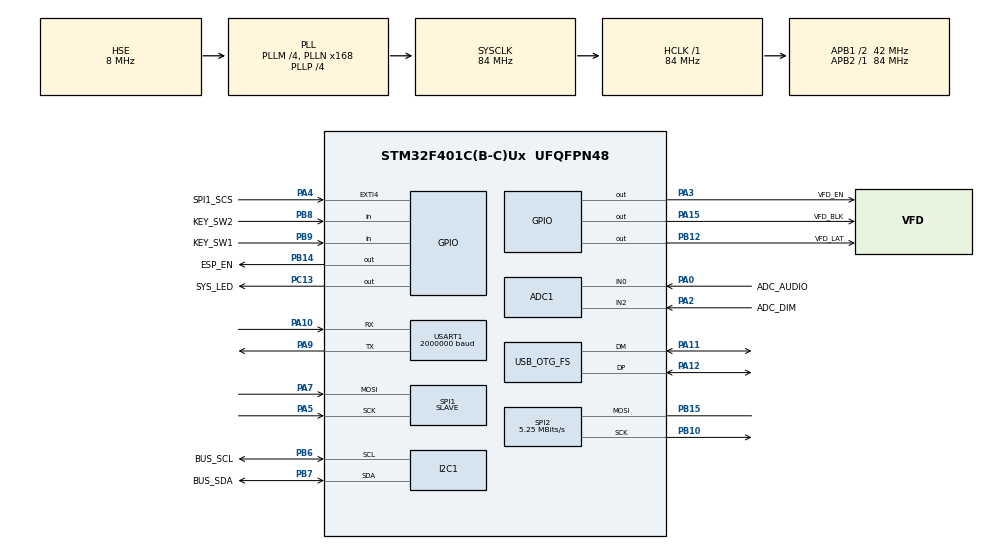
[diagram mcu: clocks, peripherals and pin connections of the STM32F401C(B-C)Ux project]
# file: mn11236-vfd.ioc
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ADC1.Channel-0\#ChannelRegularConversion=ADC_CHANNEL_0
ADC1.Channel-1\#ChannelRegularConversion=ADC_CHANNEL_2
ADC1.DataAlign=ADC_DATAALIGN_RIGHT
ADC1.ExternalTrigConv=ADC_EXTERNALTRIGCONV_T3_TRGO
ADC1.InjNumberOfConversion=0
ADC1.NbrOfConversion=2
ADC1.NbrOfConversionFlag=1
ADC1.Rank-0\#ChannelRegularConversion=1
ADC1.Rank-1\#ChannelRegularConversion=2
ADC1.SamplingTime-0\#ChannelRegularConversion=ADC_SAMPLETIME_3CYCLES
ADC1.SamplingTime-1\#ChannelRegularConversion=ADC_SAMPLETIME_56CYCLES
ADC1.master=1
Dma.ADC1.3.Direction=DMA_PERIPH_TO_MEMORY
Dma.ADC1.3.FIFOMode=DMA_FIFOMODE_DISABLE
Dma.ADC1.3.Instance=DMA2_Stream0
Dma.ADC1.3.MemDataAlignment=DMA_MDATAALIGN_HALFWORD
Dma.ADC1.3.MemInc=DMA_MINC_ENABLE
Dma.ADC1.3.Mode=DMA_CIRCULAR
Dma.ADC1.3.PeriphDataAlignment=DMA_PDATAALIGN_HALFWORD
Dma.ADC1.3.PeriphInc=DMA_PINC_DISABLE
Dma.ADC1.3.Priority=DMA_PRIORITY_LOW
Dma.Request0=SPI1_RX
Dma.Request1=USART1_RX
Dma.Request2=USART1_TX
Dma.Request3=ADC1
Dma.Request4=SPI2_TX
Dma.SPI1_RX.0.Direction=DMA_PERIPH_TO_MEMORY
Dma.SPI1_RX.0.FIFOMode=DMA_FIFOMODE_DISABLE
Dma.SPI1_RX.0.Instance=DMA2_Stream2
Dma.SPI1_RX.0.MemDataAlignment=DMA_MDATAALIGN_BYTE
Dma.SPI1_RX.0.MemInc=DMA_MINC_ENABLE
Dma.SPI1_RX.0.Mode=DMA_CIRCULAR
Dma.SPI1_RX.0.PeriphDataAlignment=DMA_PDATAALIGN_BYTE
Dma.SPI1_RX.0.PeriphInc=DMA_PINC_DISABLE
Dma.SPI1_RX.0.Priority=DMA_PRIORITY_LOW
Dma.SPI2_TX.4.Direction=DMA_MEMORY_TO_PERIPH
Dma.SPI2_TX.4.FIFOMode=DMA_FIFOMODE_DISABLE
Dma.SPI2_TX.4.Instance=DMA1_Stream4
Dma.SPI2_TX.4.MemDataAlignment=DMA_MDATAALIGN_BYTE
Dma.SPI2_TX.4.MemInc=DMA_MINC_ENABLE
Dma.SPI2_TX.4.Mode=DMA_NORMAL
Dma.SPI2_TX.4.PeriphDataAlignment=DMA_PDATAALIGN_BYTE
Dma.SPI2_TX.4.PeriphInc=DMA_PINC_DISABLE
Dma.SPI2_TX.4.Priority=DMA_PRIORITY_HIGH
Dma.USART1_RX.1.Direction=DMA_PERIPH_TO_MEMORY
Dma.USART1_RX.1.FIFOMode=DMA_FIFOMODE_DISABLE
Dma.USART1_RX.1.Instance=DMA2_Stream5
Dma.USART1_RX.1.MemDataAlignment=DMA_MDATAALIGN_BYTE
Dma.USART1_RX.1.MemInc=DMA_MINC_ENABLE
Dma.USART1_RX.1.Mode=DMA_NORMAL
Dma.USART1_RX.1.PeriphDataAlignment=DMA_PDATAALIGN_BYTE
Dma.USART1_RX.1.PeriphInc=DMA_PINC_DISABLE
Dma.USART1_RX.1.Priority=DMA_PRIORITY_LOW
Dma.USART1_TX.2.Direction=DMA_MEMORY_TO_PERIPH
Dma.USART1_TX.2.FIFOMode=DMA_FIFOMODE_DISABLE
Dma.USART1_TX.2.Instance=DMA2_Stream7
Dma.USART1_TX.2.MemDataAlignment=DMA_MDATAALIGN_BYTE
Dma.USART1_TX.2.MemInc=DMA_MINC_ENABLE
Dma.USART1_TX.2.Mode=DMA_NORMAL
Dma.USART1_TX.2.PeriphDataAlignment=DMA_PDATAALIGN_BYTE
Dma.USART1_TX.2.PeriphInc=DMA_PINC_DISABLE
Dma.USART1_TX.2.Priority=DMA_PRIORITY_LOW
FREERTOS.Mutexes01=myMutex01,Dynamic,NULL
FREERTOS.Tasks01=defaultTask,24,128,StartDefaultTask,As weak,NULL,Dynamic,NULL,NULL;displayTask,8,1024,StartdisplayTask,As weak,NULL,Dynamic,NULL,NULL
I2C1.I2C_Mode=I2C_Fast
Mcu.Family=STM32F4
Mcu.Name=STM32F401C(B-C)Ux
Mcu.Package=UFQFPN48
NVIC.DMA1_Stream4_IRQn=true\:5\:0\:false\:false\:true\:true\:false\:true\:true
NVIC.DMA2_Stream0_IRQn=true\:5\:0\:false\:false\:true\:true\:false\:true\:true
NVIC.DMA2_Stream2_IRQn=true\:5\:0\:false\:false\:true\:true\:false\:true\:true
NVIC.DMA2_Stream5_IRQn=true\:5\:0\:false\:false\:true\:true\:false\:true\:true
NVIC.DMA2_Stream7_IRQn=true\:5\:0\:false\:false\:true\:true\:false\:true\:true
NVIC.EXTI4_IRQn=true\:5\:0\:false\:false\:true\:true\:true\:true\:true
NVIC.OTG_FS_IRQn=true\:5\:0\:false\:false\:true\:true\:false\:true\:true
NVIC.PriorityGroup=NVIC_PRIORITYGROUP_4
NVIC.SPI1_IRQn=true\:5\:0\:false\:false\:true\:true\:true\:true\:true
NVIC.TIM3_IRQn=true\:5\:0\:false\:false\:true\:true\:true\:true\:true
NVIC.TIM4_IRQn=true\:15\:0\:false\:false\:true\:false\:false\:true\:true
NVIC.TimeBase=TIM4_IRQn
NVIC.TimeBaseIP=TIM4
NVIC.USART1_IRQn=true\:5\:0\:false\:false\:true\:true\:true\:true\:true
PA0-WKUP.GPIO_Label=ADC_AUDIO
PA0-WKUP.Signal=ADCx_IN0
PA10.Mode=Asynchronous
PA10.Signal=USART1_RX
PA11.Mode=Device_Only
PA11.Signal=USB_OTG_FS_DM
PA12.Mode=Device_Only
PA12.Signal=USB_OTG_FS_DP
PA13.Mode=Serial_Wire
PA13.Signal=SYS_JTMS-SWDIO
PA14.Mode=Serial_Wire
PA14.Signal=SYS_JTCK-SWCLK
PA15.GPIO_Label=VFD_BLK
PA15.GPIO_ModeDefaultOutputPP=GPIO_MODE_OUTPUT_PP
PA15.GPIO_PuPd=GPIO_PULLUP
PA15.PinState=GPIO_PIN_SET
PA15.Signal=GPIO_Output
PA2.GPIO_Label=ADC_DIM
PA2.Signal=ADCx_IN2
PA3.GPIO_Label=VFD_EN
PA3.GPIO_PuPd=GPIO_PULLUP
PA3.PinState=GPIO_PIN_SET
PA3.Signal=GPIO_Output
PA4.GPIO_Label=SPI1_SCS
PA4.GPIO_ModeDefaultEXTI=GPIO_MODE_IT_RISING
PA4.GPIO_PuPd=GPIO_PULLUP
PA4.Signal=GPXTI4
PA5.GPIO_PuPd=GPIO_PULLUP
PA5.Mode=RX_Only_Simplex_Unidirect_Slave
PA5.Signal=SPI1_SCK
PA7.GPIO_PuPd=GPIO_PULLUP
PA7.Mode=RX_Only_Simplex_Unidirect_Slave
PA7.Signal=SPI1_MOSI
PA9.Mode=Asynchronous
PA9.Signal=USART1_TX
PB10.Mode=Simplex_Bidirectional_Master
PB10.Signal=SPI2_SCK
PB12.GPIO_Label=VFD_LAT
PB12.GPIO_ModeDefaultOutputPP=GPIO_MODE_OUTPUT_PP
PB12.GPIO_PuPd=GPIO_PULLUP
PB12.GPIO_Speed=GPIO_SPEED_FREQ_VERY_HIGH
PB12.PinState=GPIO_PIN_SET
PB12.Signal=GPIO_Output
PB14.GPIO_Label=ESP_EN
PB14.GPIO_PuPd=GPIO_PULLUP
PB14.Signal=GPIO_Output
PB15.Mode=Simplex_Bidirectional_Master
PB15.Signal=SPI2_MOSI
PB6.GPIO_Label=BUS_SCL
PB6.Mode=I2C
PB6.Signal=I2C1_SCL
PB7.GPIO_Label=BUS_SDA
PB7.Mode=I2C
PB7.Signal=I2C1_SDA
PB8.GPIO_Label=KEY_SW2
PB8.GPIO_PuPd=GPIO_PULLUP
PB8.Signal=GPIO_Input
PB9.GPIO_Label=KEY_SW1
PB9.GPIO_PuPd=GPIO_PULLUP
PB9.Signal=GPIO_Input
PC13-ANTI_TAMP.GPIO_Label=SYS_LED
PC13-ANTI_TAMP.GPIO_PuPd=GPIO_PULLUP
PC13-ANTI_TAMP.PinState=GPIO_PIN_SET
PC13-ANTI_TAMP.Signal=GPIO_Output
PH0\ -\ OSC_IN.Mode=HSE-External-Oscillator
PH0\ -\ OSC_IN.Signal=RCC_OSC_IN
PH1\ -\ OSC_OUT.Mode=HSE-External-Oscillator
PH1\ -\ OSC_OUT.Signal=RCC_OSC_OUT
ProjectManager.HeapSize=0x200
ProjectManager.StackSize=0x400
ProjectManager.TargetToolchain=MDK-ARM V5.32
RCC.48MHZClocksFreq_Value=48000000
RCC.AHBFreq_Value=84000000
RCC.APB1CLKDivider=RCC_HCLK_DIV2
RCC.APB1Freq_Value=42000000
RCC.APB1TimFreq_Value=84000000
RCC.APB2Freq_Value=84000000
RCC.APB2TimFreq_Value=84000000
RCC.CortexFreq_Value=84000000
RCC.HCLKFreq_Value=84000000
RCC.HSE_VALUE=8000000
RCC.HSI_VALUE=16000000
RCC.LSE_VALUE=32768
RCC.PLLM=4
RCC.PLLN=168
RCC.PLLP=RCC_PLLP_DIV4
RCC.PLLQ=7
RCC.SYSCLKFreq_VALUE=84000000
RCC.SYSCLKSource=RCC_SYSCLKSOURCE_PLLCLK
RCC.VCOOutputFreq_Value=336000000
SH.ADCx_IN0.0=ADC1_IN0,IN0
SH.ADCx_IN2.0=ADC1_IN2,IN2
SPI1.Direction=SPI_DIRECTION_2LINES_RXONLY
SPI1.Mode=SPI_MODE_SLAVE
SPI1.VirtualType=VM_SLAVE
SPI2.BaudRatePrescaler=SPI_BAUDRATEPRESCALER_8
SPI2.CLKPhase=SPI_PHASE_2EDGE
SPI2.CLKPolarity=SPI_POLARITY_HIGH
SPI2.CalculateBaudRate=5.25 MBits/s
SPI2.Direction=SPI_DIRECTION_1LINE
SPI2.Mode=SPI_MODE_MASTER
SPI2.VirtualType=VM_MASTER
TIM2.Period=499
TIM2.Prescaler=83
TIM3.Period=99
TIM3.Prescaler=83
TIM3.TIM_MasterOutputTrigger=TIM_TRGO_UPDATE
USART1.BaudRate=2000000
USART1.VirtualMode=VM_ASYNC
USB_DEVICE.CLASS_NAME_FS=CDC
USB_DEVICE.VirtualMode=Cdc
USB_DEVICE.VirtualModeFS=Cdc_FS
USB_OTG_FS.VirtualMode=Device_Only
VP_FREERTOS_VS_CMSIS_V2.Mode=CMSIS_V2
VP_IWDG_VS_IWDG.Mode=IWDG_Activate
VP_SYS_VS_tim4.Mode=TIM4
VP_TIM2_VS_ClockSourceINT.Mode=Internal
VP_TIM3_VS_ClockSourceINT.Mode=Internal
VP_USB_DEVICE_VS_USB_DEVICE_CDC_FS.Mode=CDC_FS
board=custom

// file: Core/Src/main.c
/* USER CODE BEGIN Header */
/**
 ******************************************************************************
 * @file           : main.c
 * @brief          : Main program body
 ******************************************************************************
 * @attention
 *
 * Copyright (c) 2025 STMicroelectronics.
 * All rights reserved.
 *
 * This software is licensed under terms that can be found in the LICENSE file
 * in the root directory of this software component.
 * If no LICENSE file comes with this software, it is provided AS-IS.
 *
 ******************************************************************************
 */
/* USER CODE END Header */
#include "main.h"
#include "cmsis_os.h"
#include "adc.h"
#include "dma.h"
#include "i2c.h"
#include "spi.h"
#include "tim.h"
#include "usart.h"
#include "usb_device.h"
#include "gpio.h"

/* USER CODE BEGIN Includes */
#include <string.h>
#include "stmflash.h"
#include "usbd_nex_link.h"

#include "easy_key.h"
#include "easy_ui_user_app.h"
#include "clockui.h"
#include "animation.h"
/* USER CODE END Includes */

/* USER CODE BEGIN PV */
USBD_HandleTypeDef hUSB;
UserInfo_t userInfo = {0};
obd_data_t obd_data = {0};
/* USER CODE END PV */

void SystemClock_Config(void);
void MX_FREERTOS_Init(void);

/* USER CODE BEGIN 0 */
void MX_USB_DEVICE_Init()
{
#ifdef FUSB
  USBD_Init(&hUSB, &FS_Desc, DEVICE_FS);
#else
  USBD_Init(&hUSB, &FS_Desc, DEVICE_HS);
#endif
  USBD_RegisterClass(&hUSB, &USBD_NEX_LINK);
  USBD_Start(&hUSB);
}

typedef enum
{
  PID_RPM = 1 << 0,      // 010C
  PID_SPEED = 1 << 1,    // 010D
  PID_TEMP = 1 << 2,     // 0105
  PID_IAT = 1 << 3,      // 010F
  PID_LOAD = 1 << 4,     // 0104
  PID_THROTTLE = 1 << 5, // 0111
  PID_VOLT = 1 << 6,     // 0142
  PID_OIL_TEMP = 1 << 7, // 015C
} obd_pid_flag_t;

uint8_t obd_display_index = 0; // 0=RPM, 1=SPEED, 2=TEMP, 3=IAT, 4=LOAD, 5=THROTTLE, 6=VOLT, 7=OIL_TEMP

/* Bridge protocol definitions */
#define BRIDGE_SOF 0xAA
#define BRIDGE_VERSION 0x01
#define BRIDGE_TYPE_REPLY 0x30

static uint8_t bridge_crc(const uint8_t *data, uint16_t len)
{
  uint8_t crc = 0;
  for (uint16_t i = 0; i < len; i++)
  {
    crc ^= data[i];
  }
  return crc;
}

#define CMD_BUF_SIZE 64
uint8_t cmd_buffer[CMD_BUF_SIZE];
static void bridge_parse_frame(const uint8_t *frame, uint16_t len);

extern char timeStr[128];
void HAL_GPIO_EXTI_Callback(uint16_t GPIO_Pin)
{
  uint16_t remaining_count = hdma_spi1_rx.Instance->NDTR;
  uint16_t current_count = CMD_BUF_SIZE - remaining_count;
  HAL_SPI_DMAStop(&hspi1);
  __HAL_RCC_SPI1_FORCE_RESET();
  __HAL_RCC_SPI1_RELEASE_RESET();
  HAL_SPI_Init(&hspi1);

#if 0
	// Print only the actual received bytes based on current_count.
	size_t len = snprintf(timeStr, sizeof timeStr, "%u:", current_count);
	uint16_t max_print = (sizeof timeStr - len - 1) / 3;
	uint16_t print_count = current_count < max_print ? current_count : max_print;
	for (uint16_t i = 0; i < print_count; i++)
	{
		len += snprintf(timeStr + len, sizeof timeStr - len, "%02X", cmd_buffer[i]);
	}
	if (current_count > print_count)
	{
		snprintf(timeStr + len, sizeof timeStr - len, " ...");
	}
#endif
  // Process received frame data
  if (current_count >= 6)
  {
    bridge_parse_frame(cmd_buffer, current_count);
  }

  HAL_SPI_Receive_DMA(&hspi1, (uint8_t *)cmd_buffer, CMD_BUF_SIZE);

  // printf("%d --> %d", GPIO_Pin, HAL_GPIO_ReadPin(SPI1_SCS_GPIO_Port, SPI1_SCS_Pin));
}

static inline uint8_t PID_ToIndex(uint32_t pid)
{
  switch (pid)
  {
  case PID_RPM:
    return 0;
  case PID_SPEED:
    return 1;
  case PID_TEMP:
    return 2;
  case PID_IAT:
    return 3;
  case PID_LOAD:
    return 4;
  case PID_THROTTLE:
    return 5;
  case PID_VOLT:
    return 6;
  case PID_OIL_TEMP:
    return 7;
  default:
    return 0xFF; // invalid
  }
}

extern SysDisplayMode_e disp_mode;
/* Bridge protocol frame parsing and handling */
static void bridge_parse_frame(const uint8_t *frame, uint16_t len)
{

  if (len < 6)
    return;

  // Check SOF and version
  if (frame[0] != BRIDGE_SOF || frame[1] != BRIDGE_VERSION)
    return;

  // Get payload length
  uint16_t payload_len = (frame[3] << 8) | frame[4];
  if (6 + payload_len != len)
    return;

  // Verify CRC
  uint8_t crc = bridge_crc(&frame[2], 3 + payload_len);
  if (crc != frame[5 + payload_len])
    return;

  // Parse frame type
  uint8_t type = frame[2];
  const uint8_t *payload = &frame[5];

  if (type == BRIDGE_TYPE_REPLY)
  {
    // OBD reply: payload[0] = PID, payload[1..] = data
    if (payload_len >= 1)
    {
      uint8_t pid = payload[0];
      const uint8_t *data = &payload[1];
      uint8_t data_len = payload_len - 1;
      if (disp_mode != DISP_MODE_MENU)
        disp_mode = DISP_MODE_OBD;

      uint8_t index = PID_ToIndex(pid);

      switch (pid)
      {
      case PID_RPM:
        obd_display_index = 0;
        if (data_len >= 2)
        {
          obd_data.rpm = (data[0] << 8) | data[1];
        }
        break;

      case PID_SPEED:
        obd_display_index = 1;
        if (data_len >= 1)
        {
          obd_data.speed = data[0];
        }
        break;

      case PID_TEMP:
        obd_display_index = 2;
        if (data_len >= 1)
        {
          obd_data.coolant_temp = data[0];
        }
        break;

      case PID_IAT:
        obd_display_index = 3;
        if (data_len >= 1)
        {
          obd_data.intake_temp = data[0];
        }
        break;

      case PID_LOAD:
        obd_display_index = 4;
        if (data_len >= 1)
        {
          obd_data.load_pct = data[0];
        }
        break;

      case PID_THROTTLE:
        obd_display_index = 5;
        if (data_len >= 1)
        {
          obd_data.throttle_pct = data[0];
        }
        break;

      case PID_VOLT:
        obd_display_index = 6;
        if (data_len >= 2)
        {
          obd_data.voltage = (data[0] << 8) | data[1];
        }
        break;

      case PID_OIL_TEMP:
        obd_display_index = 7;
        if (data_len >= 1)
        {
          obd_data.oil_temp = (int8_t)data[0];
        }
        break;

      default:
        break;
      }

      if (index != 0xFF)
      {
				if(data_len > 0)
					obd_data.valid |= pid;
        obd_data.last_update_tick[index] = HAL_GetTick();
      }
    }
  }
}

/* USER CODE END 0 */

int main(void)
{

  /* MCU Configuration--------------------------------------------------------*/

  /* Reset of all peripherals, Initializes the Flash interface and the Systick. */
  HAL_Init();

  /* Configure the system clock */
  SystemClock_Config();

  /* Initialize all configured peripherals */
  MX_GPIO_Init();
  MX_DMA_Init();
  MX_SPI1_Init();
  MX_USART1_UART_Init();
  MX_ADC1_Init();
  MX_TIM3_Init();
  MX_SPI2_Init();
  MX_I2C1_Init();
  MX_TIM2_Init();
  /* USER CODE BEGIN 2 */

  STMFLASH_Read(FLASH_SAVE_ADDR, (uint32_t *)&userInfo, sizeof(UserInfo_t) / sizeof(uint32_t));
  if (userInfo.valid != 5)
  {
    userInfo.defaultfunc = 0;
    userInfo.clocktheme = 0;
    userInfo.musictheme = 2;
    userInfo.snakewidth = SNAKE_FIXED_WIDTH; /* 已固定为 3，仅保留字段占位 */
    userInfo.valid = 5;
    userInfo.clockdimming = 4;
    userInfo.screen_on_hour = 7;
    userInfo.screen_off_hour = 23;
    userInfo.esp_en = false;
    userInfo.musiccolor = 0;

    userInfo.motion = 0;
    userInfo.game = 0;
    userInfo.automode = 0;
    STMFLASH_Write(FLASH_SAVE_ADDR, (uint32_t *)&userInfo, sizeof(UserInfo_t) / sizeof(uint32_t));
  }

  userInfo.clockdimming %= 5;
  userInfo.clocktheme %= CLOCK_THEME_COUNT;
  userInfo.musictheme %= FFT_STYLE_COUNT;
  userInfo.musiccolor %= FFT_COLOR_COUNT;
  userInfo.motion %= ANIM_COUNT;
  userInfo.game %= GAME_COUNT;
  /* 旧配置里这个字节可能是 0xFF，只有明确的 0/1 才认 */
  if (userInfo.automode > 1)
    userInfo.automode = 0;
  HAL_NVIC_SetPriority(DMA1_Stream4_IRQn, 1, 0); // 让扫描中断不被打断

  HAL_NVIC_SetPriority(DMA2_Stream2_IRQn, 0, 0);

  HAL_NVIC_SetPriority(EXTI4_IRQn, 0, 0);

  HAL_TIM_Base_Start_IT(&htim3);
  HAL_SPI_Receive_DMA(&hspi1, (uint8_t *)cmd_buffer, CMD_BUF_SIZE);
  //  HAL_TIM_PWM_Start(&htim2,TIM_CHANNEL_1);
  /* USER CODE END 2 */

  /* Init scheduler */
  osKernelInitialize(); /* Call init function for freertos objects (in freertos.c) */
  MX_FREERTOS_Init();

  /* Start scheduler */
  osKernelStart();

  /* We should never get here as control is now taken by the scheduler */
  /* Infinite loop */
  while (1)
  {

  }
}

void SystemClock_Config(void)
{
  RCC_OscInitTypeDef RCC_OscInitStruct = {0};
  RCC_ClkInitTypeDef RCC_ClkInitStruct = {0};

  /** Configure the main internal regulator output voltage
   */
  __HAL_RCC_PWR_CLK_ENABLE();
  __HAL_PWR_VOLTAGESCALING_CONFIG(PWR_REGULATOR_VOLTAGE_SCALE2);

  /** Initializes the RCC Oscillators according to the specified parameters
   * in the RCC_OscInitTypeDef structure.
   */
  RCC_OscInitStruct.OscillatorType = RCC_OSCILLATORTYPE_HSE;
  RCC_OscInitStruct.HSEState = RCC_HSE_ON;
  RCC_OscInitStruct.PLL.PLLState = RCC_PLL_ON;
  RCC_OscInitStruct.PLL.PLLSource = RCC_PLLSOURCE_HSE;
  RCC_OscInitStruct.PLL.PLLM = 4;
  RCC_OscInitStruct.PLL.PLLN = 168;
  RCC_OscInitStruct.PLL.PLLP = RCC_PLLP_DIV4;
  RCC_OscInitStruct.PLL.PLLQ = 7;
  if (HAL_RCC_OscConfig(&RCC_OscInitStruct) != HAL_OK)
  {
    Error_Handler();
  }

  /** Initializes the CPU, AHB and APB buses clocks
   */
  RCC_ClkInitStruct.ClockType = RCC_CLOCKTYPE_HCLK | RCC_CLOCKTYPE_SYSCLK | RCC_CLOCKTYPE_PCLK1 | RCC_CLOCKTYPE_PCLK2;
  RCC_ClkInitStruct.SYSCLKSource = RCC_SYSCLKSOURCE_PLLCLK;
  RCC_ClkInitStruct.AHBCLKDivider = RCC_SYSCLK_DIV1;
  RCC_ClkInitStruct.APB1CLKDivider = RCC_HCLK_DIV2;
  RCC_ClkInitStruct.APB2CLKDivider = RCC_HCLK_DIV1;

  if (HAL_RCC_ClockConfig(&RCC_ClkInitStruct, FLASH_LATENCY_2) != HAL_OK)
  {
    Error_Handler();
  }
}

void HAL_TIM_PeriodElapsedCallback(TIM_HandleTypeDef *htim)
{
  if (htim->Instance == TIM4)
  {
    HAL_IncTick();
  }
  /* USER CODE BEGIN Callback 1 */

  if (htim->Instance == htim3.Instance)
  {
    EasyKeyScanKeyState();
    EasyKeyUserApp();
    EasyUIKeyActionMonitor();
    //		dbmsg("tick: %d", HAL_GetTick());
  }
  /* USER CODE END Callback 1 */
}

void Error_Handler(void)
{
  __disable_irq();
  while (1)
  {
  }
}

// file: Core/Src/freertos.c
/* USER CODE BEGIN Header */
/**
 ******************************************************************************
 * File Name          : freertos.c
 * Description        : Code for freertos applications
 ******************************************************************************
 * @attention
 *
 * Copyright (c) 2025 STMicroelectronics.
 * All rights reserved.
 *
 * This software is licensed under terms that can be found in the LICENSE file
 * in the root directory of this software component.
 * If no LICENSE file comes with this software, it is provided AS-IS.
 *
 ******************************************************************************
 */
/* USER CODE END Header */

#include "FreeRTOS.h"
#include "task.h"
#include "main.h"
#include "cmsis_os.h"

/* USER CODE BEGIN Includes */
#include "adc.h"
#include "dma.h"
#include "spi.h"
#include "tim.h"
#include "usb_device.h"
#include "gpio.h"
#include <stdarg.h>
#include <math.h>
#include <string.h>
// #include "gu20x8_301.h"
#include "mn11236.h"
#include "stmflash.h"
#include "stdbool.h"
#include "gui.h"
#include "bootui.h"
/* USER CODE END Includes */

/* Definitions for defaultTask */
osThreadId_t defaultTaskHandle;
const osThreadAttr_t defaultTask_attributes = {
  .name = "defaultTask",
  .stack_size = 256 * 4,
  .priority = (osPriority_t) osPriorityNormal,
};
/* Definitions for displayTask */
osThreadId_t displayTaskHandle;
const osThreadAttr_t displayTask_attributes = {
  .name = "displayTask",
  .stack_size = 1024 * 4,
  .priority = (osPriority_t) osPriorityLow,
};
/* Definitions for myMutex01 */
osMutexId_t myMutex01Handle;
const osMutexAttr_t myMutex01_attributes = {
  .name = "myMutex01"
};

/* USER CODE BEGIN FunctionPrototypes */

osMessageQueueId_t usbQueueHandle;
const osMessageQueueAttr_t usbQueue_attributes = {
    .name = "usbQueue"};

/* USER CODE END FunctionPrototypes */

void StartDefaultTask(void *argument);
void StartdisplayTask(void *argument);

extern void MX_USB_DEVICE_Init(void);
void MX_FREERTOS_Init(void); /* (MISRA C 2004 rule 8.1) */

void MX_FREERTOS_Init(void) {
  /* Create the mutex(es) */
  /* creation of myMutex01 */
  myMutex01Handle = osMutexNew(&myMutex01_attributes);

  /* USER CODE BEGIN RTOS_QUEUES */
  /* add queues, ... */
  //  usbQueueHandle = osMessageQueueNew(16, sizeof(uint8_t) * DEBUG_BUF_SIZE, &usbQueue_attributes);
  /* USER CODE END RTOS_QUEUES */

  /* Create the thread(s) */
  /* creation of defaultTask */
  defaultTaskHandle = osThreadNew(StartDefaultTask, NULL, &defaultTask_attributes);

  /* creation of displayTask */
  displayTaskHandle = osThreadNew(StartdisplayTask, NULL, &displayTask_attributes);

}

__weak void StartDefaultTask(void *argument)
{
  /* init code for USB_DEVICE */
  MX_USB_DEVICE_Init();
  /* USER CODE BEGIN StartDefaultTask */
  uint32_t led_tick;

  osDelay(200);
  bootui_init();

  led_tick = HAL_GetTick();

  /* Infinite loop */
  for (;;)
  {
    bootui_poll();

    /* 升级完成：让屏幕把结果亮一会儿再重启进 APP */
    if (bootui_is_finished())
    {
      for (int i = 0; i < 16; i++)
      {
        HAL_GPIO_TogglePin(SYS_LED_GPIO_Port, SYS_LED_Pin);
        bootui_poll();
        osDelay(125);
      }

      MX_USB_DEVICE_DeInit();
      NVIC_SystemReset();
    }

    if (HAL_GetTick() - led_tick >= 500)
    {
      led_tick = HAL_GetTick();
      HAL_GPIO_TogglePin(SYS_LED_GPIO_Port, SYS_LED_Pin);
    }

    osDelay(20);
  }
  /* USER CODE END StartDefaultTask */
}

__weak void StartdisplayTask(void *argument)
{
  /* USER CODE BEGIN StartdisplayTask */
//  const char *weekDays[7] = {
//      "SUN", "MON", "TUE", "WED", "THU", "FRI", "SAT"};
//  static char tempstr[32] = {0};
#if true

  /* Infinite loop */
  for (;;)
  {
    osDelay(5);
  }
#else
  mn11236_init();
  for (;;)
  {
    mn11236_development_test();
    osDelay(1000);
  }
#endif
  /* USER CODE END StartdisplayTask */
}

/* USER CODE BEGIN Application */

void HAL_ADC_ConvCpltCallback(ADC_HandleTypeDef *hadc)
{
}

/* USER CODE END Application */
